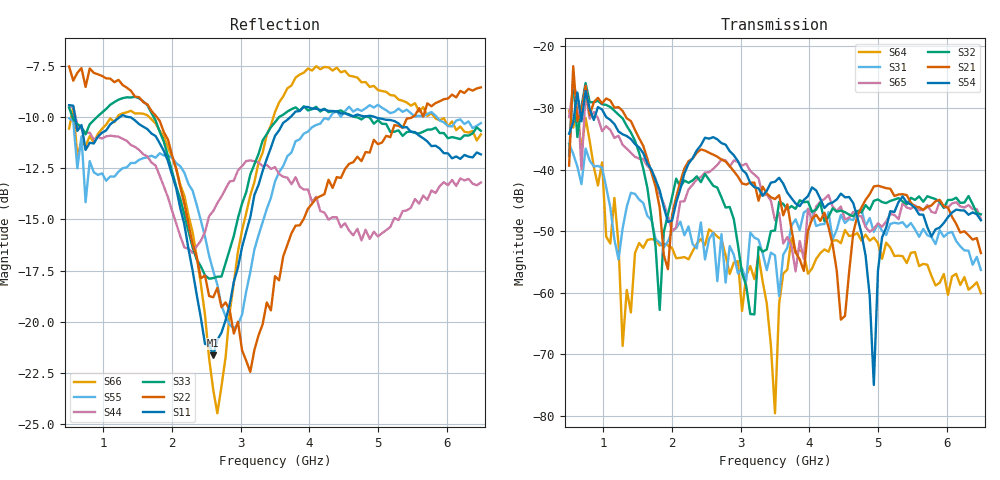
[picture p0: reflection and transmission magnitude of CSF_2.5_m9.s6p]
!Keysight Technologies,M9804A,MY58100912,A.14.10.03
!Date: Thursday, April 27, 2023 10:28:33
!Correction: S11(C  6-Port  )
!S12(C  6-Port  )
!S13(C  6-Port  )
!S14(C  6-Port  )
!S15(C  6-Port  )
!S16(C  6-Port  )
!S21(C  6-Port  )
!S22(C  6-Port  )
!S23(C  6-Port  )
!S24(C  6-Port  )
!S25(C  6-Port  )
!S26(C  6-Port  )
!S31(C  6-Port  )
!S32(C  6-Port  )
!S33(C  6-Port  )
!S34(C  6-Port  )
!S35(C  6-Port  )
!S36(C  6-Port  )
!S41(C  6-Port  )
!S42(C  6-Port  )
!S43(C  6-Port  )
!S44(C  6-Port  )
!S45(C  6-Port  )
!S46(C  6-Port  )
!S51(C  6-Port  )
!S52(C  6-Port  )
!S53(C  6-Port  )
!S54(C  6-Port  )
!S55(C  6-Port  )
!S56(C  6-Port  )
!S61(C  6-Port  )
!S62(C  6-Port  )
!S63(C  6-Port  )
!S64(C  6-Port  )
!S65(C  6-Port  )
!S66(C  6-Port  )
!S6P File: Measurement: :
# Hz S  RI  R 50
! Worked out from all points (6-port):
!   101 points, 500 MHz to 6.5 GHz, reference 50 ohm
!   strongest paths, dB at 500 MHz, 2 GHz, 3.5 GHz, 5 GHz, 6.5 GHz:
!     S54: -34.2, -48.3, -42.0, -56.4, -48.2
!     S21: -39.4, -47.4, -44.8, -42.6, -53.5
!     S32: -37.8, -44.5, -49.9, -44.8, -47.2
!     S65: -31.5, -50.0, -48.2, -48.7, -48.0
!     S31: -35.8, -50.0, -53.9, -48.8, -56.3
!     S64: -30.4, -52.7, -79.5, -51.9, -60.1
!   lowest |S11| = -21.6 dB at 2.6 GHz (marker M1), VSWR 1.18, Z = 42.6 + j2.03 ohm
!   |S11| at or under -10 dB: 588.1 MHz to 1.233 GHz (644.5 MHz wide, 70.8 % of centre); 1.402 GHz to 3.718 GHz (2.317 GHz wide, 90.5 % of centre); 4.971 GHz to end of sweep
